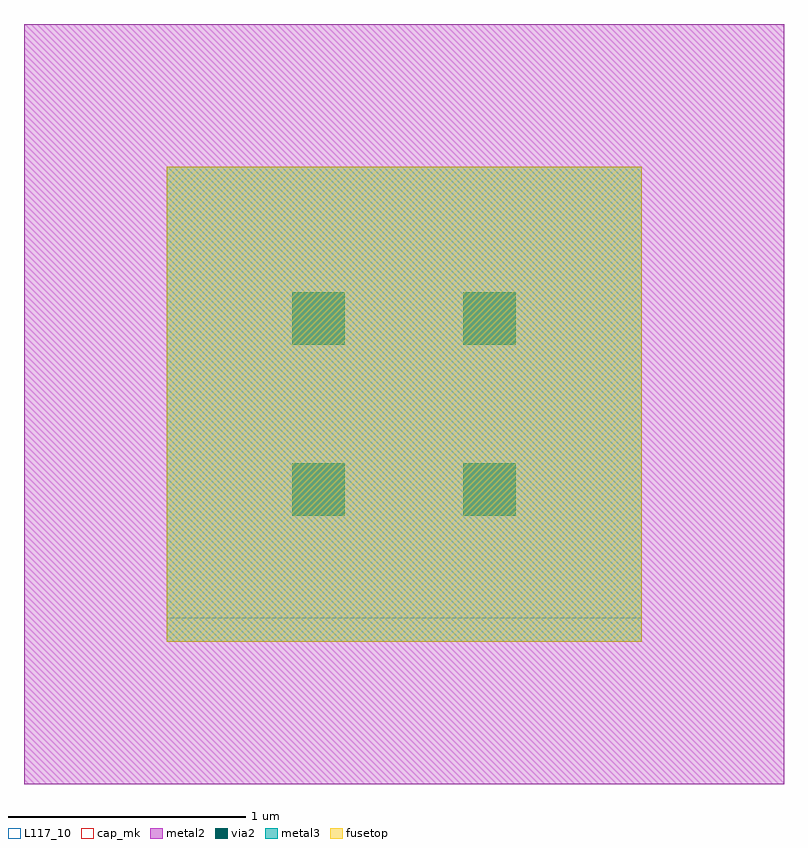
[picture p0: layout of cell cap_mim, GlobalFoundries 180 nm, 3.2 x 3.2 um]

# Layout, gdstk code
import gdstk
lib = gdstk.Library(unit=1e-6, precision=1e-09)
def R(c, l, rs):  # rectangles x0, y0, x1, y1
    for r in rs: c.add(gdstk.rectangle(r[:2], r[2:], *l))
metal2 = (36, 0)
via2 = (38, 0)
metal3 = (42, 0)
fusetop = (75, 0)
cap_mk = (117, 5)
L117_10 = (117, 10)

compass_layer42__0_size2 = lib.new_cell('compass_layer42__0_size2__2')
R(compass_layer42__0_size2, metal3, [(-1,-1,1,1)])

rectangle_layer42__0_siz = lib.new_cell('rectangle_layer42__0_size2__2')
rectangle_layer42__0_siz.add(gdstk.Reference(compass_layer42__0_size2, (1,1)))

compass_fe8f6166 = lib.new_cell('compass_fe8f6166')
R(compass_fe8f6166, fusetop, [(-1,-1,1,1)])

rectangle_fe8f6166 = lib.new_cell('rectangle_fe8f6166')
rectangle_fe8f6166.add(gdstk.Reference(compass_fe8f6166, (1,1)))

compass_04701515 = lib.new_cell('compass_04701515')
R(compass_04701515, L117_10, [(-1,-0.05,1,0.05)])

rectangle_04701515 = lib.new_cell('rectangle_04701515')
rectangle_04701515.add(gdstk.Reference(compass_04701515, (1,0.05)))

compass_a870dee9 = lib.new_cell('compass_a870dee9')
R(compass_a870dee9, metal2, [(-1.6,-1.6,1.6,1.6)])

rectangle_a870dee9 = lib.new_cell('rectangle_a870dee9')
rectangle_a870dee9.add(gdstk.Reference(compass_a870dee9, (1.6,1.6)))

compass_aab1d95d = lib.new_cell('compass_aab1d95d')
R(compass_aab1d95d, cap_mk, [(-1.6,-1.6,1.6,1.6)])

rectangle_aab1d95d = lib.new_cell('rectangle_aab1d95d')
rectangle_aab1d95d.add(gdstk.Reference(compass_aab1d95d, (1.6,1.6)))

compass_b41ceeba = lib.new_cell('compass_b41ceeba')
R(compass_b41ceeba, via2, [(-0.11,-0.11,0.11,0.11)])

rectangle_b41ceeba = lib.new_cell('rectangle_b41ceeba')
rectangle_b41ceeba.add(gdstk.Reference(compass_b41ceeba, (0.11,0.11)))

via_generator_7efb7bc9 = lib.new_cell('via_generator_7efb7bc9')
r = gdstk.Reference(rectangle_b41ceeba, (0.53,0.53)); r.repetition = gdstk.Repetition(2, 2, v1=(0.72,0), v2=(0,0.72)); via_generator_7efb7bc9.add(r)

cap_mim = lib.new_cell('cap_mim')
cap_mim.add(gdstk.Reference(rectangle_layer42__0_siz, (0,0)))
cap_mim.add(gdstk.Reference(rectangle_fe8f6166, (0,0)))
cap_mim.add(gdstk.Reference(rectangle_04701515, (0,0)))
cap_mim.add(gdstk.Reference(rectangle_a870dee9, (-0.6,-0.6)))
cap_mim.add(gdstk.Reference(rectangle_aab1d95d, (-0.6,-0.6)))
cap_mim.add(gdstk.Reference(via_generator_7efb7bc9, (0,0)))

lib.write_gds('cap_mim.gds')
